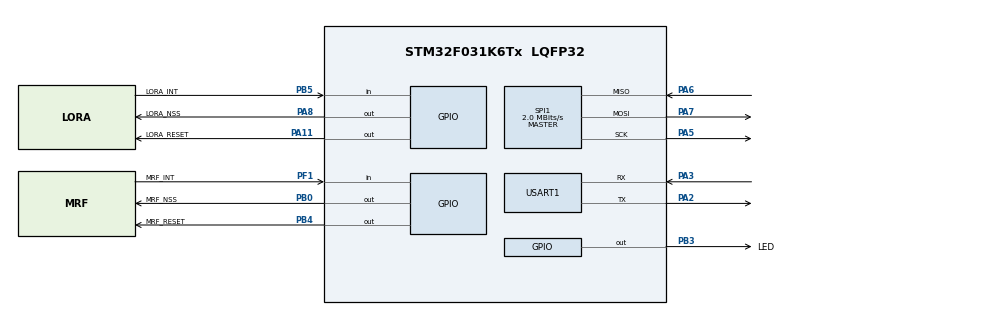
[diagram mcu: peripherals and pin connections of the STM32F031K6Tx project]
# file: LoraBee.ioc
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Mcu.Family=STM32F0
Mcu.Name=STM32F031K6Tx
Mcu.Package=LQFP32
PA11.GPIO_Label=LORA_RESET
PA11.GPIO_PuPd=GPIO_PULLUP
PA11.PinState=GPIO_PIN_SET
PA11.Signal=GPIO_Output
PA2.Mode=Asynchronous
PA2.Signal=USART1_TX
PA3.Mode=Asynchronous
PA3.Signal=USART1_RX
PA5.Mode=Full_Duplex_Master
PA5.Signal=SPI1_SCK
PA6.Mode=Full_Duplex_Master
PA6.Signal=SPI1_MISO
PA7.Mode=Full_Duplex_Master
PA7.Signal=SPI1_MOSI
PA8.GPIO_Label=LORA_NSS
PA8.PinState=GPIO_PIN_SET
PA8.Signal=GPIO_Output
PB0.GPIO_Label=MRF_NSS
PB0.PinState=GPIO_PIN_SET
PB0.Signal=GPIO_Output
PB3.GPIO_Label=LED
PB3.PinState=GPIO_PIN_SET
PB3.Signal=GPIO_Output
PB4.GPIO_Label=MRF_RESET
PB4.GPIO_PuPd=GPIO_PULLUP
PB4.PinState=GPIO_PIN_SET
PB4.Signal=GPIO_Output
PB5.GPIO_Label=LORA_INT
PB5.GPIO_PuPd=GPIO_PULLUP
PB5.Signal=GPIO_Input
PF1-OSC_OUT.GPIO_Label=MRF_INT
PF1-OSC_OUT.GPIO_PuPd=GPIO_PULLUP
PF1-OSC_OUT.Signal=GPIO_Input
ProjectManager.HeapSize=0x200
ProjectManager.StackSize=0x400
ProjectManager.TargetToolchain=STM32CubeIDE
SPI1.BaudRatePrescaler=SPI_BAUDRATEPRESCALER_4
SPI1.CalculateBaudRate=2.0 MBits/s
SPI1.DataSize=SPI_DATASIZE_8BIT
SPI1.Direction=SPI_DIRECTION_2LINES
SPI1.Mode=SPI_MODE_MASTER
SPI1.VirtualType=VM_MASTER
USART1.VirtualMode-Asynchronous=VM_ASYNC
board=custom

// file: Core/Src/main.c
/* USER CODE BEGIN Header */
/**
  ******************************************************************************
  * @file           : main.c
  * @brief          : Main program body
  ******************************************************************************
  * @attention
  *
  * <h2><center>&copy; Copyright (c) 2020 STMicroelectronics.
  * All rights reserved.</center></h2>
  *
  * This software component is licensed by ST under BSD 3-Clause license,
  * the "License"; You may not use this file except in compliance with the
  * License. You may obtain a copy of the License at:
  *                        opensource.org/licenses/BSD-3-Clause
  *
  ******************************************************************************
  */
/* USER CODE END Header */
#include "main.h"

/* USER CODE BEGIN Includes */
#include "lora_sx1276.h"
#include <strings.h>
#include <stdio.h>
#include "retarget.h"
#include "lib_mrf24j.h"
/* USER CODE END Includes */

/* USER CODE BEGIN PD */
const char DEVICE_ID[] = "A";
/* USER CODE END PD */

SPI_HandleTypeDef hspi1;

UART_HandleTypeDef huart1;

void SystemClock_Config(void);
static void MX_GPIO_Init(void);
static void MX_SPI1_Init(void);
static void MX_USART1_UART_Init(void);

int main(void)
{

  /* MCU Configuration--------------------------------------------------------*/

  /* Reset of all peripherals, Initializes the Flash interface and the Systick. */
  HAL_Init();

  /* USER CODE BEGIN Init */
	uint8_t point = 0;

	const uint8_t STATE = 1;	// 0 transmitter, 1 is receiver
  /* USER CODE END Init */

  /* Configure the system clock */
  SystemClock_Config();

  /* Initialize all configured peripherals */
  MX_GPIO_Init();
  MX_SPI1_Init();
  MX_USART1_UART_Init();
  /* USER CODE BEGIN 2 */
	RetargetInit(&huart1);
	//initialize LoRa module
	lora_sx1276 lora;

	uint8_t res = lora_init(&lora, &hspi1, LORA_NSS_GPIO_Port, LORA_NSS_Pin, LORA_BASE_FREQUENCY_EU);
	uint8_t ver = lora_version(&lora);
	HAL_Delay(100);
	printf("%d: Starting Lora up...", point++);
	if (res != LORA_OK) {
		// Initialization failed
		printf("failed\n");
	} else {
		printf("\nLora version: %d\n", ver);
	}

	// Initialize MRF module
	mrf_reset();
	mrf_deselect();

	printf("%d: MRF starting up...", point++);
	mrf_init();
	mrf_set_ignorebytes(2);
	mrf_pan_write(0xFFFF);

	if (STATE){
		mrf_promiscuous(1);
		mrf_address16_write(0xFFFF);
		printf("Set as receiver.\n");
	}
	else{
		mrf_address16_write(0x0001);
		printf("Set as transmitter.\n");
	}

  /* USER CODE END 2 */

  /* Infinite loop */
  /* USER CODE BEGIN WHILE */

  while (1)
  {
	HAL_GPIO_TogglePin(LED_GPIO_Port, LED_Pin);
	HAL_Delay(50);

	if (STATE == 1){
		receive_lora(lora);
		receive_mrf();
	}
	else{
		transmit_lora(lora);
		transmit_mrf();
	}

	HAL_GPIO_TogglePin(LED_GPIO_Port, LED_Pin);
	_delay_ms(1000);
    /* USER CODE END WHILE */

  }
}

void SystemClock_Config(void)
{
  RCC_OscInitTypeDef RCC_OscInitStruct = {0};
  RCC_ClkInitTypeDef RCC_ClkInitStruct = {0};
  RCC_PeriphCLKInitTypeDef PeriphClkInit = {0};

  /** Initializes the RCC Oscillators according to the specified parameters
  * in the RCC_OscInitTypeDef structure.
  */
  RCC_OscInitStruct.OscillatorType = RCC_OSCILLATORTYPE_HSI;
  RCC_OscInitStruct.HSIState = RCC_HSI_ON;
  RCC_OscInitStruct.HSICalibrationValue = RCC_HSICALIBRATION_DEFAULT;
  RCC_OscInitStruct.PLL.PLLState = RCC_PLL_NONE;
  if (HAL_RCC_OscConfig(&RCC_OscInitStruct) != HAL_OK)
  {
    Error_Handler();
  }
  /** Initializes the CPU, AHB and APB buses clocks
  */
  RCC_ClkInitStruct.ClockType = RCC_CLOCKTYPE_HCLK|RCC_CLOCKTYPE_SYSCLK
                              |RCC_CLOCKTYPE_PCLK1;
  RCC_ClkInitStruct.SYSCLKSource = RCC_SYSCLKSOURCE_HSI;
  RCC_ClkInitStruct.AHBCLKDivider = RCC_SYSCLK_DIV1;
  RCC_ClkInitStruct.APB1CLKDivider = RCC_HCLK_DIV1;

  if (HAL_RCC_ClockConfig(&RCC_ClkInitStruct, FLASH_LATENCY_0) != HAL_OK)
  {
    Error_Handler();
  }
  PeriphClkInit.PeriphClockSelection = RCC_PERIPHCLK_USART1;
  PeriphClkInit.Usart1ClockSelection = RCC_USART1CLKSOURCE_PCLK1;
  if (HAL_RCCEx_PeriphCLKConfig(&PeriphClkInit) != HAL_OK)
  {
    Error_Handler();
  }
}

static void MX_SPI1_Init(void)
{

  /* SPI1 parameter configuration*/
  hspi1.Instance = SPI1;
  hspi1.Init.Mode = SPI_MODE_MASTER;
  hspi1.Init.Direction = SPI_DIRECTION_2LINES;
  hspi1.Init.DataSize = SPI_DATASIZE_8BIT;
  hspi1.Init.CLKPolarity = SPI_POLARITY_LOW;
  hspi1.Init.CLKPhase = SPI_PHASE_1EDGE;
  hspi1.Init.NSS = SPI_NSS_SOFT;
  hspi1.Init.BaudRatePrescaler = SPI_BAUDRATEPRESCALER_4;
  hspi1.Init.FirstBit = SPI_FIRSTBIT_MSB;
  hspi1.Init.TIMode = SPI_TIMODE_DISABLE;
  hspi1.Init.CRCCalculation = SPI_CRCCALCULATION_DISABLE;
  hspi1.Init.CRCPolynomial = 7;
  hspi1.Init.CRCLength = SPI_CRC_LENGTH_DATASIZE;
  hspi1.Init.NSSPMode = SPI_NSS_PULSE_ENABLE;
  if (HAL_SPI_Init(&hspi1) != HAL_OK)
  {
    Error_Handler();
  }

}

static void MX_USART1_UART_Init(void)
{

  huart1.Instance = USART1;
  huart1.Init.BaudRate = 38400;
  huart1.Init.WordLength = UART_WORDLENGTH_8B;
  huart1.Init.StopBits = UART_STOPBITS_1;
  huart1.Init.Parity = UART_PARITY_NONE;
  huart1.Init.Mode = UART_MODE_TX_RX;
  huart1.Init.HwFlowCtl = UART_HWCONTROL_NONE;
  huart1.Init.OverSampling = UART_OVERSAMPLING_16;
  huart1.Init.OneBitSampling = UART_ONE_BIT_SAMPLE_DISABLE;
  huart1.AdvancedInit.AdvFeatureInit = UART_ADVFEATURE_NO_INIT;
  if (HAL_UART_Init(&huart1) != HAL_OK)
  {
    Error_Handler();
  }

}

static void MX_GPIO_Init(void)
{
  GPIO_InitTypeDef GPIO_InitStruct = {0};

  /* GPIO Ports Clock Enable */
  __HAL_RCC_GPIOF_CLK_ENABLE();
  __HAL_RCC_GPIOA_CLK_ENABLE();
  __HAL_RCC_GPIOB_CLK_ENABLE();

  /*Configure GPIO pin Output Level */
  HAL_GPIO_WritePin(GPIOB, MRF_NSS_Pin|LED_Pin|MRF_RESET_Pin, GPIO_PIN_SET);

  /*Configure GPIO pin Output Level */
  HAL_GPIO_WritePin(GPIOA, LORA_NSS_Pin|LORA_RESET_Pin, GPIO_PIN_SET);

  /*Configure GPIO pin : MRF_INT_Pin */
  GPIO_InitStruct.Pin = MRF_INT_Pin;
  GPIO_InitStruct.Mode = GPIO_MODE_INPUT;
  GPIO_InitStruct.Pull = GPIO_PULLUP;
  HAL_GPIO_Init(MRF_INT_GPIO_Port, &GPIO_InitStruct);

  /*Configure GPIO pins : MRF_NSS_Pin LED_Pin */
  GPIO_InitStruct.Pin = MRF_NSS_Pin|LED_Pin;
  GPIO_InitStruct.Mode = GPIO_MODE_OUTPUT_PP;
  GPIO_InitStruct.Pull = GPIO_NOPULL;
  GPIO_InitStruct.Speed = GPIO_SPEED_FREQ_LOW;
  HAL_GPIO_Init(GPIOB, &GPIO_InitStruct);

  /*Configure GPIO pin : LORA_NSS_Pin */
  GPIO_InitStruct.Pin = LORA_NSS_Pin;
  GPIO_InitStruct.Mode = GPIO_MODE_OUTPUT_PP;
  GPIO_InitStruct.Pull = GPIO_NOPULL;
  GPIO_InitStruct.Speed = GPIO_SPEED_FREQ_LOW;
  HAL_GPIO_Init(LORA_NSS_GPIO_Port, &GPIO_InitStruct);

  /*Configure GPIO pin : LORA_RESET_Pin */
  GPIO_InitStruct.Pin = LORA_RESET_Pin;
  GPIO_InitStruct.Mode = GPIO_MODE_OUTPUT_PP;
  GPIO_InitStruct.Pull = GPIO_PULLUP;
  GPIO_InitStruct.Speed = GPIO_SPEED_FREQ_LOW;
  HAL_GPIO_Init(LORA_RESET_GPIO_Port, &GPIO_InitStruct);

  /*Configure GPIO pin : MRF_RESET_Pin */
  GPIO_InitStruct.Pin = MRF_RESET_Pin;
  GPIO_InitStruct.Mode = GPIO_MODE_OUTPUT_PP;
  GPIO_InitStruct.Pull = GPIO_PULLUP;
  GPIO_InitStruct.Speed = GPIO_SPEED_FREQ_LOW;
  HAL_GPIO_Init(MRF_RESET_GPIO_Port, &GPIO_InitStruct);

  /*Configure GPIO pin : LORA_INT_Pin */
  GPIO_InitStruct.Pin = LORA_INT_Pin;
  GPIO_InitStruct.Mode = GPIO_MODE_INPUT;
  GPIO_InitStruct.Pull = GPIO_PULLUP;
  HAL_GPIO_Init(LORA_INT_GPIO_Port, &GPIO_InitStruct);

}

/* USER CODE BEGIN 4 */
void mrf_reset(void) {
    HAL_GPIO_WritePin(MRF_RESET_GPIO_Port, MRF_RESET_Pin, 0);
    HAL_Delay(10);
    HAL_GPIO_WritePin(MRF_RESET_GPIO_Port, MRF_RESET_Pin, 1);
    HAL_Delay(20);
}

void handle_rx(mrf_rx_info_t *rxinfo, uint8_t *rx_buffer) {
    printf("MRF RSSI=%d\n", rxinfo->rssi);
}

void handle_tx(mrf_tx_info_t *txinfo) {
    if (txinfo->tx_ok) {
        printf("MRF message sent!\n");
    } else {
        printf("MRF transmission failed after %d retries\n", txinfo->retries);
    }
}

void mrf_select(void){
	HAL_GPIO_WritePin(MRF_NSS_GPIO_Port, MRF_NSS_Pin, 0);
	_delay_ms(100);
}

void mrf_deselect(void){
	HAL_GPIO_WritePin(MRF_NSS_GPIO_Port, MRF_NSS_Pin, 1);
}

uint8_t spi_tx(uint8_t cData){
	uint8_t buff;
	HAL_SPI_TransmitReceive(&hspi1, &cData, &buff, sizeof(buff), 100);
	return buff;
}

void _delay_ms(int t){
  HAL_Delay(t);
}

void transmit_mrf(){
	printf("Sending MRF...");
	mrf_send16(0xFFFF, 8,&DEVICE_ID);
	HAL_Delay(500);
	mrf_check_flags(&handle_rx, &handle_tx);
	if (HAL_GPIO_ReadPin(MRF_INT_GPIO_Port, MRF_INT_Pin) == 0){
		mrf_interrupt_handler();
	}
}

void transmit_lora(lora_sx1276 lora){
	printf("Sending LORA...");

	uint8_t res = lora_send_packet(&lora, (uint8_t *)DEVICE_ID, 1);
	HAL_Delay(300);
	if (res != LORA_OK) {
		// Send failed
		printf("Send failed\n");
	}
	else {
		printf("Packet sent!\n");
	}
}

void receive_mrf(){
	printf("MRF receiving....");
	mrf_check_flags(&handle_rx, &handle_tx);
	if (HAL_GPIO_ReadPin(MRF_INT_GPIO_Port, MRF_INT_Pin) == 0){
		printf("\n");
		mrf_interrupt_handler();
	} else {
		printf(" Nothing to receive!\n");
	}

}

void receive_lora(lora_sx1276 lora){
	printf("Lora receiving....");
	uint8_t buffer[32];

	lora_mode_receive_continious(&lora);

	uint8_t res;
	uint8_t len = lora_receive_packet_blocking(&lora, buffer, sizeof(buffer), 3000, &res);
	uint8_t rssi = lora_packet_rssi(&lora);
	if (res != LORA_OK) {
		printf(" No message received!\n");
	} else {
		buffer[len] = 0;  // null terminate string to print it
		printf("success!\nData: %s\n", buffer);
		printf("LORA RSSI = %d\n", rssi);
	}
}
/* USER CODE END 4 */

void Error_Handler(void)
{
}

/************************ (C) COPYRIGHT STMicroelectronics *****END OF FILE****/
